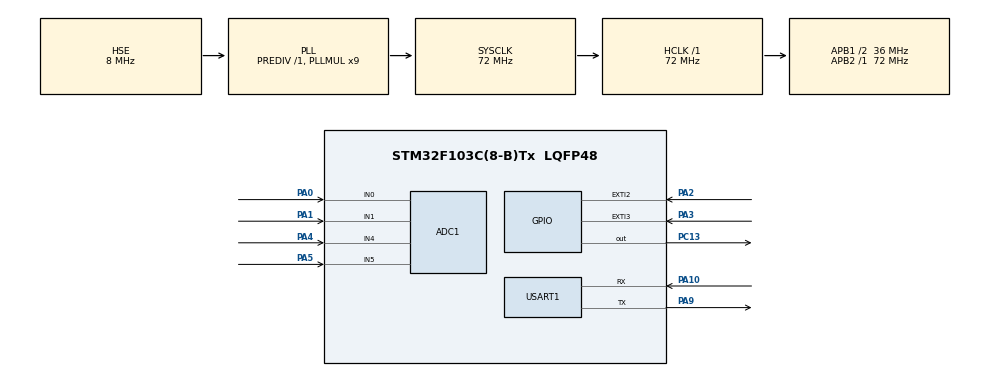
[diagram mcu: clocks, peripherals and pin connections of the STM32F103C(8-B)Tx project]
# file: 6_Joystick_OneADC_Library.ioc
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ADC1.Channel-0\#ChannelRegularConversion=ADC_CHANNEL_0
ADC1.Channel-1\#ChannelRegularConversion=ADC_CHANNEL_1
ADC1.Channel-2\#ChannelRegularConversion=ADC_CHANNEL_4
ADC1.Channel-3\#ChannelRegularConversion=ADC_CHANNEL_5
ADC1.ContinuousConvMode=ENABLE
ADC1.NbrOfConversion=4
ADC1.NbrOfConversionFlag=1
ADC1.Rank-0\#ChannelRegularConversion=1
ADC1.Rank-1\#ChannelRegularConversion=2
ADC1.Rank-2\#ChannelRegularConversion=3
ADC1.Rank-3\#ChannelRegularConversion=4
ADC1.SamplingTime-0\#ChannelRegularConversion=ADC_SAMPLETIME_55CYCLES_5
ADC1.SamplingTime-1\#ChannelRegularConversion=ADC_SAMPLETIME_55CYCLES_5
ADC1.SamplingTime-2\#ChannelRegularConversion=ADC_SAMPLETIME_55CYCLES_5
ADC1.SamplingTime-3\#ChannelRegularConversion=ADC_SAMPLETIME_55CYCLES_5
ADC1.master=1
Mcu.Family=STM32F1
Mcu.Name=STM32F103C(8-B)Tx
Mcu.Package=LQFP48
NVIC.ADC1_2_IRQn=true\:0\:0\:false\:false\:true\:true\:true\:true
NVIC.EXTI2_IRQn=true\:0\:0\:false\:false\:true\:true\:true\:true
NVIC.EXTI3_IRQn=true\:0\:0\:false\:false\:true\:true\:true\:true
NVIC.PriorityGroup=NVIC_PRIORITYGROUP_4
PA0-WKUP.Signal=ADCx_IN0
PA1.Signal=ADCx_IN1
PA10.Mode=Asynchronous
PA10.Signal=USART1_RX
PA13.Mode=Serial_Wire
PA13.Signal=SYS_JTMS-SWDIO
PA14.Mode=Serial_Wire
PA14.Signal=SYS_JTCK-SWCLK
PA2.GPIO_ModeDefaultEXTI=GPIO_MODE_IT_FALLING
PA2.GPIO_PuPd=GPIO_PULLUP
PA2.Signal=GPXTI2
PA3.GPIO_ModeDefaultEXTI=GPIO_MODE_IT_FALLING
PA3.GPIO_PuPd=GPIO_PULLUP
PA3.Signal=GPXTI3
PA4.Signal=ADCx_IN4
PA5.Signal=ADCx_IN5
PA9.Mode=Asynchronous
PA9.Signal=USART1_TX
PC13-TAMPER-RTC.PinState=GPIO_PIN_SET
PC13-TAMPER-RTC.Signal=GPIO_Output
PD0-OSC_IN.Mode=HSE-External-Oscillator
PD0-OSC_IN.Signal=RCC_OSC_IN
PD1-OSC_OUT.Mode=HSE-External-Oscillator
PD1-OSC_OUT.Signal=RCC_OSC_OUT
ProjectManager.HeapSize=0x200
ProjectManager.StackSize=0x400
ProjectManager.TargetToolchain=MDK-ARM V5.32
RCC.ADCPresc=RCC_ADCPCLK2_DIV6
RCC.AHBFreq_Value=72000000
RCC.APB1CLKDivider=RCC_HCLK_DIV2
RCC.APB1Freq_Value=36000000
RCC.APB1TimFreq_Value=72000000
RCC.APB2Freq_Value=72000000
RCC.APB2TimFreq_Value=72000000
RCC.EnbaleCSS=true
RCC.HCLKFreq_Value=72000000
RCC.PLLMUL=RCC_PLL_MUL9
RCC.PLLSourceVirtual=RCC_PLLSOURCE_HSE
RCC.SYSCLKFreq_VALUE=72000000
RCC.SYSCLKSource=RCC_SYSCLKSOURCE_PLLCLK
RCC.USBFreq_Value=72000000
SH.ADCx_IN0.0=ADC1_IN0,IN0
SH.ADCx_IN1.0=ADC1_IN1,IN1
SH.ADCx_IN4.0=ADC1_IN4,IN4
SH.ADCx_IN5.0=ADC1_IN5,IN5
USART1.VirtualMode=VM_ASYNC
board=custom

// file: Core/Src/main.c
/* USER CODE BEGIN Header */
/**
  ******************************************************************************
  * @file           : main.c
  * @brief          : Main program body
  ******************************************************************************
  * @attention
  *
  * Copyright (c) 2025 STMicroelectronics.
  * All rights reserved.
  *
  * This software is licensed under terms that can be found in the LICENSE file
  * in the root directory of this software component.
  * If no LICENSE file comes with this software, it is provided AS-IS.
  *
  ******************************************************************************
  */
/* USER CODE END Header */
#include "main.h"
#include "adc.h"
#include "usart.h"
#include "gpio.h"

/* USER CODE BEGIN Includes */

#include "string.h"
#include "stdio.h"

/* USER CODE END Includes */

void SystemClock_Config(void);
/* USER CODE BEGIN PFP */

void Lin_adc(void);

/* USER CODE END PFP */

int main(void)
{

  /* MCU Configuration--------------------------------------------------------*/

  /* Reset of all peripherals, Initializes the Flash interface and the Systick. */
  HAL_Init();

  /* Configure the system clock */
  SystemClock_Config();

  /* Initialize all configured peripherals */
  MX_GPIO_Init();
  MX_ADC1_Init();
  MX_USART1_UART_Init();

  /* Infinite loop */
  /* USER CODE BEGIN WHILE */
  while (1)
  {
    Lin_adc();
    HAL_GPIO_TogglePin(GPIOC, GPIO_PIN_13);
    HAL_Delay(100);
    /* USER CODE END WHILE */

  }
}

void SystemClock_Config(void)
{
  RCC_OscInitTypeDef RCC_OscInitStruct = {0};
  RCC_ClkInitTypeDef RCC_ClkInitStruct = {0};
  RCC_PeriphCLKInitTypeDef PeriphClkInit = {0};

  /** Initializes the RCC Oscillators according to the specified parameters
  * in the RCC_OscInitTypeDef structure.
  */
  RCC_OscInitStruct.OscillatorType = RCC_OSCILLATORTYPE_HSE;
  RCC_OscInitStruct.HSEState = RCC_HSE_ON;
  RCC_OscInitStruct.HSEPredivValue = RCC_HSE_PREDIV_DIV1;
  RCC_OscInitStruct.HSIState = RCC_HSI_ON;
  RCC_OscInitStruct.PLL.PLLState = RCC_PLL_ON;
  RCC_OscInitStruct.PLL.PLLSource = RCC_PLLSOURCE_HSE;
  RCC_OscInitStruct.PLL.PLLMUL = RCC_PLL_MUL9;
  if (HAL_RCC_OscConfig(&RCC_OscInitStruct) != HAL_OK)
  {
    Error_Handler();
  }

  /** Initializes the CPU, AHB and APB buses clocks
  */
  RCC_ClkInitStruct.ClockType = RCC_CLOCKTYPE_HCLK|RCC_CLOCKTYPE_SYSCLK
                              |RCC_CLOCKTYPE_PCLK1|RCC_CLOCKTYPE_PCLK2;
  RCC_ClkInitStruct.SYSCLKSource = RCC_SYSCLKSOURCE_PLLCLK;
  RCC_ClkInitStruct.AHBCLKDivider = RCC_SYSCLK_DIV1;
  RCC_ClkInitStruct.APB1CLKDivider = RCC_HCLK_DIV2;
  RCC_ClkInitStruct.APB2CLKDivider = RCC_HCLK_DIV1;

  if (HAL_RCC_ClockConfig(&RCC_ClkInitStruct, FLASH_LATENCY_2) != HAL_OK)
  {
    Error_Handler();
  }
  PeriphClkInit.PeriphClockSelection = RCC_PERIPHCLK_ADC;
  PeriphClkInit.AdcClockSelection = RCC_ADCPCLK2_DIV6;
  if (HAL_RCCEx_PeriphCLKConfig(&PeriphClkInit) != HAL_OK)
  {
    Error_Handler();
  }

  /** Enables the Clock Security System
  */
  HAL_RCC_EnableCSS();
}

/* USER CODE BEGIN 4 */

void Lin_adc(void)
{
    // uint16_t vrx1 = 0, vry1 = 0, vrx2 = 0, vry2 = 0;
    char txbuf[80];  // 临时输出缓冲区

    // ADC1：摇杆1
    HAL_ADC_Start(&hadc1);
    HAL_ADC_PollForConversion(&hadc1, HAL_MAX_DELAY);
    uint16_t vrx1 = HAL_ADC_GetValue(&hadc1); // Rank 1

    HAL_ADC_PollForConversion(&hadc1, HAL_MAX_DELAY);
    uint16_t vry1 = HAL_ADC_GetValue(&hadc1); // Rank 2

    HAL_ADC_PollForConversion(&hadc1, HAL_MAX_DELAY);
    uint16_t vrx2 = HAL_ADC_GetValue(&hadc1); // Rank 3

    HAL_ADC_PollForConversion(&hadc1, HAL_MAX_DELAY);
    uint16_t vry2 = HAL_ADC_GetValue(&hadc1); // Rank 4

    HAL_ADC_Stop(&hadc1);

    // 读取按键状态
    uint8_t sw1 = HAL_GPIO_ReadPin(GPIOA, GPIO_PIN_2); // 摇杆1按钮
    uint8_t sw2 = HAL_GPIO_ReadPin(GPIOA, GPIO_PIN_3); // 摇杆2按钮
    // 按下时引脚为0，松开为1
    // 反转逻辑
    sw1 = (sw1 == GPIO_PIN_RESET) ? 1 : 0;
    sw2 = (sw2 == GPIO_PIN_RESET) ? 1 : 0;

            sprintf(txbuf,
            "%d,%d,%d,%d,%d,%d\r\n",vrx1, vry1, sw1, vrx2, vry2, sw2);

            HAL_UART_Transmit(&huart1, (uint8_t*)txbuf, strlen(txbuf), 50);
            // HAL_UART_Transmit(&huart1, (uint8_t*)txbuf, len, 10);
}

/* USER CODE END 4 */

void Error_Handler(void)
{
  __disable_irq();
  while (1)
  {
  }
}
